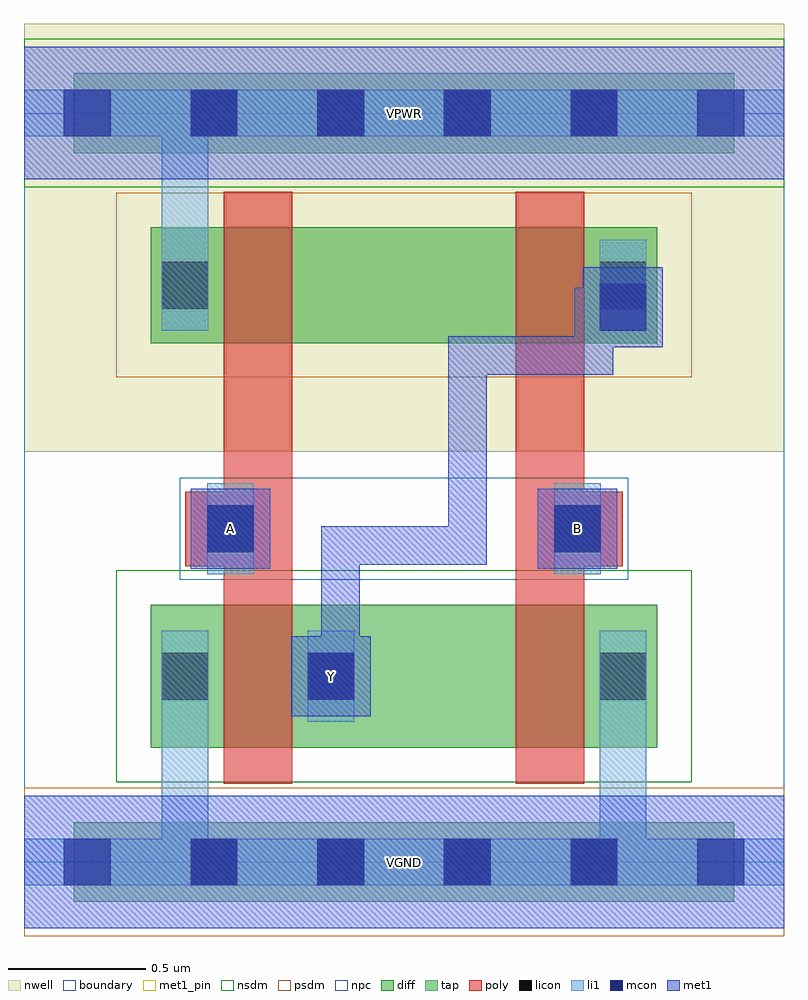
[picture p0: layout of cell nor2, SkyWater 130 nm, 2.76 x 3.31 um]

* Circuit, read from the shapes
.subckt nor2 A B VGND VPWR Y
XM1 Y A VGND VGND sky130_fd_pr__nfet_01v8 w=0.52 l=0.25
XM2 VGND B Y VGND sky130_fd_pr__nfet_01v8 w=0.52 l=0.25
XM3 n1 A VPWR VPWR sky130_fd_pr__pfet_01v8 w=0.42 l=0.25
XM4 Y B n1 VPWR sky130_fd_pr__pfet_01v8 w=0.42 l=0.25
.ends

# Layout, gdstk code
import gdstk
lib = gdstk.Library(unit=1e-6, precision=1e-09)
def R(c, l, rs):  # rectangles x0, y0, x1, y1
    for r in rs: c.add(gdstk.rectangle(r[:2], r[2:], *l))
def A(c, l, x, y, w, h, nx, ny, dx, dy):  # array of equal rectangles
    R(c, l, [(x+i*dx, y+j*dy, x+i*dx+w, y+j*dy+h) for i in range(nx) for j in range(ny)])
nwell = (64, 20)
diff = (65, 20)
tap = (65, 44)
poly = (66, 20)
licon = (66, 44)
li1 = (67, 20)
mcon = (67, 44)
met1_pin = (68, 16)
met1 = (68, 20)
nsdm = (93, 44)
psdm = (94, 20)
npc = (95, 20)
boundary = (235, 4)

nor2 = lib.new_cell('nor2')
R(nor2, nwell, [(0,1.49,2.76,3.045)])
R(nor2, diff, [(0.46,0.415,2.3,0.935), (0.46,1.885,2.3,2.305)])
R(nor2, tap, [(0.18,-0.145,2.58,0.145), (0.18,2.575,2.58,2.865)])
R(nor2, poly, [(0.725,0.285,0.975,2.435), (1.785,0.285,2.035,2.435), (0.585,1.075,0.915,1.345), (1.845,1.075,2.175,1.345)])
A(nor2, licon, 0.605, -0.085, 0.17, 0.17, 4, 2, 0.46, 2.72)
R(nor2, licon, [(0.5,0.59,0.67,0.76), (1.03,0.59,1.2,0.76), (2.09,0.59,2.26,0.76), (0.665,1.125,0.835,1.295), (1.925,1.125,2.095,1.295), (0.5,2.01,0.67,2.18), (2.09,2.01,2.26,2.18)])
R(nor2, li1, [(0,-0.085,2.76,0.085), (0.5,-0.085,0.67,0.84), (2.09,-0.085,2.26,0.84), (0.5,0.51,0.67,0.84), (1.03,0.51,1.2,0.84), (2.09,0.51,2.26,0.84), (0.665,1.045,0.835,1.375), (1.925,1.045,2.095,1.375), (0.5,1.93,0.67,2.26), (0.5,1.93,0.67,2.805), (2.09,1.93,2.26,2.26), (0,2.635,2.76,2.805)])
A(nor2, mcon, 0.145, -0.085, 0.17, 0.17, 6, 2, 0.46, 2.72)
R(nor2, mcon, [(1.03,0.59,1.2,0.76), (0.665,1.125,0.835,1.295), (1.925,1.125,2.095,1.295), (2.09,1.93,2.26,2.1)])
R(nor2, met1_pin, [(0,-0.24,2.76,0.24), (0.97,0.53,1.26,0.82), (0.605,1.065,0.895,1.355), (1.865,1.065,2.155,1.355), (0,2.48,2.76,2.96)])
R(nor2, met1, [(0,-0.24,2.76,0.24), (0.97,0.53,1.26,0.82), (1.08,0.62,1.22,0.76), (1.08,0.62,1.22,1.22), (0.605,1.065,0.895,1.355), (1.865,1.065,2.155,1.355), (1.08,1.08,1.68,1.22), (1.54,1.08,1.68,1.91), (1.54,1.77,2.14,1.91), (2,1.77,2.14,2.085), (2.03,1.87,2.32,2.16), (2,1.91,2.14,1.945), (2,1.91,2.14,1.945), (2,1.91,2.14,1.945), (2,1.91,2.14,1.945), (2,1.91,2.14,1.945), (2,1.91,2.14,1.945), (2,1.945,2.245,2.085), (0,2.48,2.76,2.96)])
R(nor2, nsdm, [(0.335,0.29,2.425,1.06), (0,2.45,2.76,2.99)])
R(nor2, psdm, [(0,-0.27,2.76,0.27), (0.335,1.76,2.425,2.43)])
R(nor2, npc, [(0.565,1.025,2.195,1.395)])
R(nor2, boundary, [(0,0,2.76,2.72)])
nor2.add(gdstk.Label('A', (0.75,1.21), layer=68, texttype=5))
nor2.add(gdstk.Label('B', (2.01,1.21), layer=68, texttype=5))
nor2.add(gdstk.Label('Y', (1.115,0.675), layer=68, texttype=5))
nor2.add(gdstk.Label('VPWR', (1.38,2.72), layer=68, texttype=5))
nor2.add(gdstk.Label('VGND', (1.38,0), layer=68, texttype=5))
nor2.add(gdstk.Label('A', (0.75,1.21), layer=68, texttype=16))
nor2.add(gdstk.Label('B', (2.01,1.21), layer=68, texttype=16))
nor2.add(gdstk.Label('Y', (1.115,0.675), layer=68, texttype=16))
nor2.add(gdstk.Label('VPWR', (1.38,2.72), layer=68, texttype=16))
nor2.add(gdstk.Label('VGND', (1.38,0), layer=68, texttype=16))

lib.write_gds('nor2.gds')
